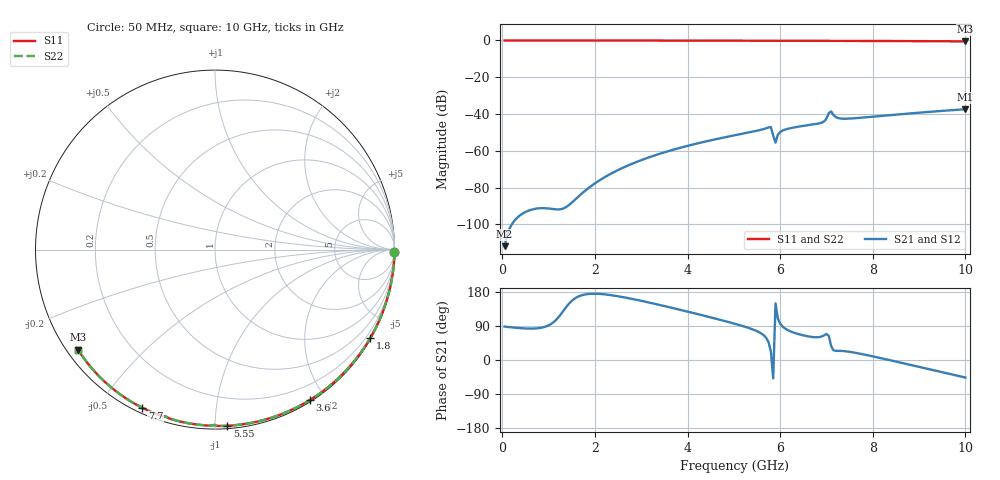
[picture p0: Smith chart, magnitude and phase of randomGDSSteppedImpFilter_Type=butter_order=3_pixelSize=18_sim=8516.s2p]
! freq	dB(S11)	phase(S11)	dB(S12)	phase(S12)
!  dB(S21)	phase(S21)	dB(S22)	phase(S22)
!S-par simulation data
#  GHz  S  DB  R 50
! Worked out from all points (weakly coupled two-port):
!   200 points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, 50 MHz to 10 GHz, reference 50 ohm
!   highest |S21| = -37.40 dB at 10 GHz (marker M1); lowest = -111.9 dB at 50 MHz (marker M2)
!   lowest |S11| = -0.5 dB at 10 GHz (marker M3), VSWR 35.58, Z = 1.55 - j16.3 ohm
!   |S11| at or under -10 dB: nowhere
!   |S22| runs from -0.5 to 0.0 dB; largest |S21 - S12| = 0
!   S11 on the Smith chart (normalised r, x): 50 MHz: open; 1.8 GHz: 0.03, -3.79; 3.6 GHz: 0.02, -1.81; 5.55 GHz: 0.02, -1.07; 7.7 GHz: 0.02, -0.64; 10 GHz: 0.03, -0.33
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0.05  -0.00 -0.8  -111.89 88.3  -111.89 88.3  -0.00 -0.8
1.75  -0.04 -28.8  -82.56 172.0  -82.56 172.0  -0.04 -28.8
1.8  -0.04 -29.6  -81.51 173.2  -81.51 173.2  -0.04 -29.6
1.9  -0.04 -31.2  -79.55 174.6  -79.55 174.6  -0.04 -31.2
2.6  -0.05 -42.3  -69.29 166.1  -69.29 166.1  -0.05 -42.3
3.4  -0.07 -54.7  -61.63 145.2  -61.63 145.2  -0.07 -54.7
3.6  -0.08 -57.7  -60.09 139.5  -60.09 139.5  -0.08 -57.7
5.05  -0.12 -79.0  -51.42 94.6  -51.42 94.6  -0.12 -79.0
5.55  -0.14 -86.1  -48.82 73.1  -48.82 73.1  -0.14 -86.1
5.8  -0.17 -89.7  -47.10 22.3  -47.10 22.3  -0.17 -89.7
5.9  -0.18 -90.7  -55.62 149.4  -55.62 149.4  -0.18 -90.7
5.95  -0.17 -91.4  -51.29 109.4  -51.29 109.4  -0.17 -91.4
6.05  -0.17 -92.8  -49.06 88.6  -49.06 88.6  -0.17 -92.8
6.7  -0.20 -101.6  -45.71 60.6  -45.71 60.6  -0.20 -101.6
6.95  -0.22 -105.0  -44.01 65.1  -44.01 65.1  -0.22 -105.0
7  -0.24 -105.7  -42.53 68.8  -42.53 68.8  -0.24 -105.7
7.05  -0.27 -106.3  -39.54 63.7  -39.54 63.7  -0.27 -106.3
7.1  -0.26 -106.7  -38.58 37.4  -38.58 37.4  -0.26 -106.7
7.25  -0.23 -108.7  -42.20 24.1  -42.20 24.1  -0.23 -108.7
7.7  -0.26 -114.7  -42.14 17.3  -42.14 17.3  -0.26 -114.7
8.35  -0.32 -123.0  -40.67 0.1  -40.67 0.1  -0.32 -123.0
10  -0.49 -143.9  -37.40 -46.3  -37.40 -46.3  -0.49 -143.9
